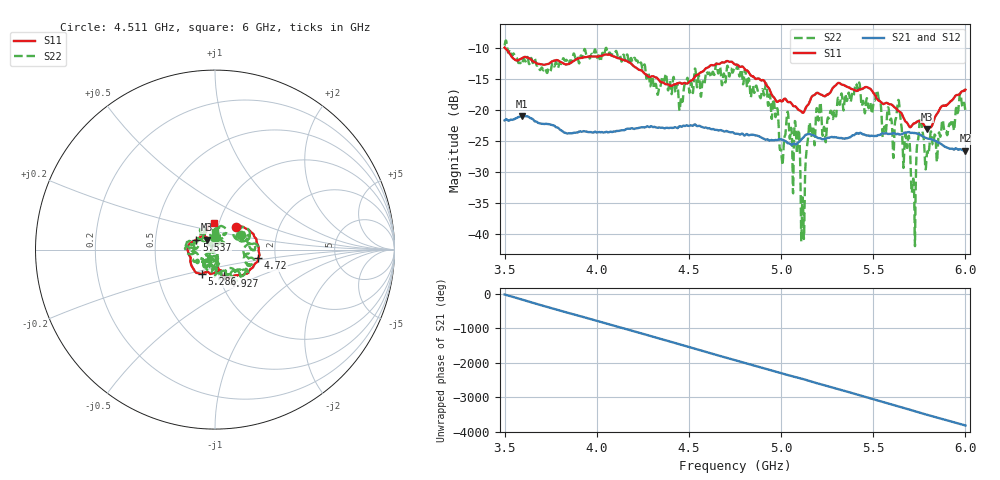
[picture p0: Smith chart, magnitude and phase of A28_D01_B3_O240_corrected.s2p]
! Created with skrf 1.9.0 (http://scikit-rf.org).
# Hz S RI R 50.0
!freq ReS11 ImS11 ReS21 ImS21 ReS12 ImS12 ReS22 ImS22
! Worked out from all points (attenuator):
!   1601 points, 3.5 GHz to 6 GHz, reference 50 ohm
!   highest |S21| = -20.95 dB at 3.592 GHz (marker M1); lowest = -26.6 dB at 6 GHz (marker M2)
!   lowest |S11| = -23.0 dB at 5.791 GHz (marker M3), VSWR 1.15, Z = 45.6 + j5.09 ohm
!   |S11| at or under -10 dB: 3.504 GHz to end of sweep
!   |S22| runs from -42.0 to -8.7 dB; largest |S21 - S12| = 0.0013
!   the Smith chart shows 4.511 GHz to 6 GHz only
!   S11 on the Smith chart (normalised r, x): 4.511 GHz: 1.22, +0.32; 4.72 GHz: 1.63, -0.17; 4.927 GHz: 1.05, -0.32; 5.286 GHz: 0.83, -0.23; 5.537 GHz: 0.81, +0.09; 6 GHz: 0.94, +0.28
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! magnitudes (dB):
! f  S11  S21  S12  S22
! 3.5 GHz  -9.9  -21.7  -21.7  -9.5
! 3.592 GHz  -11.7  -20.9  -21.0  -12.7
! 3.917 GHz  -11.6  -23.5  -23.5  -11.2
! 4.334 GHz  -15.0  -22.8  -22.8  -17.0
! 4.511 GHz  -15.2  -22.5  -22.5  -15.7
! 4.72 GHz  -12.2  -23.6  -23.6  -14.6
! 4.75 GHz  -12.6  -23.8  -23.8  -13.4
! 4.927 GHz  -16.2  -24.7  -24.7  -18.2
! 5.002 GHz  -18.5  -24.8  -24.8  -27.1
! 5.088 GHz  -19.7  -25.4  -25.4  -26.7
! 5.117 GHz  -20.4  -24.5  -24.5  -34.1
! 5.145 GHz  -19.2  -23.9  -23.9  -24.8
! 5.167 GHz  -17.8  -24.0  -24.0  -23.8
! 5.286 GHz  -16.2  -24.4  -24.4  -20.5
! 5.414 GHz  -16.9  -23.8  -23.8  -16.5
! 5.537 GHz  -18.6  -24.0  -24.0  -18.5
! 5.584 GHz  -19.0  -23.8  -23.8  -19.9
! 5.641 GHz  -20.2  -24.0  -23.9  -18.9
! 5.717 GHz  -22.2  -23.7  -23.7  -31.1
! 5.752 GHz  -21.8  -23.9  -23.9  -21.7
! 5.791 GHz  -23.0  -24.6  -24.5  -27.2
! 6 GHz  -16.7  -26.6  -26.5  -20.2
